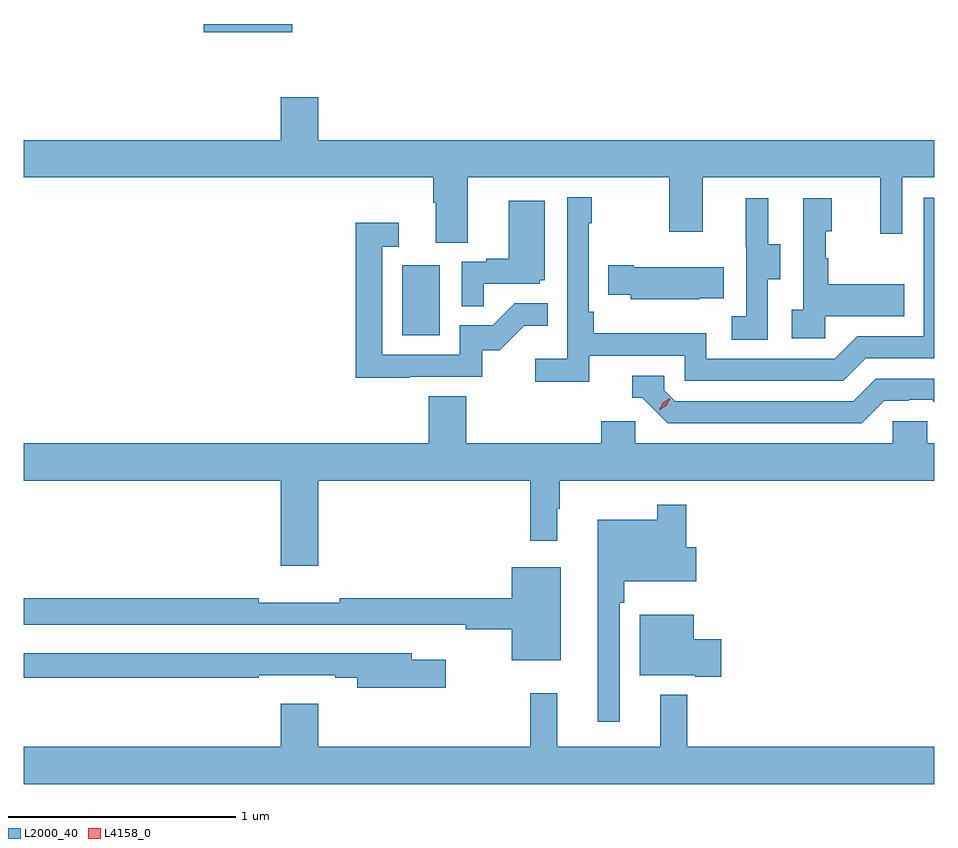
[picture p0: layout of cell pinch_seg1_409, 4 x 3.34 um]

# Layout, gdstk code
import gdstk
lib = gdstk.Library(unit=1e-6, precision=1e-09)
def R(c, l, rs):  # rectangles x0, y0, x1, y1
    for r in rs: c.add(gdstk.rectangle(r[:2], r[2:], *l))
def P(c, l, *ps):  # polygons
    for p in ps: c.add(gdstk.Polygon(p, *l))
L2000_40 = (2000, 40)
L4158_0 = (4158, 0)

pinch_seg1_409 = lib.new_cell('pinch_seg1_409')
R(pinch_seg1_409, L2000_40, [(920.786,539.052,920.95,539.359), (919.914,540.382,920.302,540.418)])
P(pinch_seg1_409, L2000_40, [(921.073,539.744),(921.958,539.744),(921.958,539.505),(922.105,539.505),(922.105,539.744),(922.886,539.744),(922.886,539.496),(922.983,539.496),(922.983,539.744),(923.123,539.744),(923.123,539.908),(920.416,539.908),(920.416,540.097),(920.252,540.097),(920.252,539.908),(919.123,539.908),(919.123,539.744),(920.921,539.744),(920.921,539.632),(920.933,539.632),(920.933,539.458),(921.073,539.458)],
  [(921.608,538.962),(922.026,538.962),(922.026,538.851),(922.723,538.851),(922.822,538.95),(923.123,538.95),(923.123,539.655),(923.076,539.655),(923.076,539.046),(922.785,539.046),(922.686,538.947),(922.122,538.947),(922.122,539.059),(921.626,539.059),(921.626,539.155),(921.606,539.155),(921.606,539.543),(921.619,539.543),(921.619,539.656),(921.51,539.656),(921.51,538.948),(921.369,538.948),(921.369,538.846),(921.608,538.846)],
  [(922.392,539.296),(922.447,539.296),(922.447,539.451),(922.393,539.451),(922.393,539.653),(922.295,539.653),(922.295,539.439),(922.296,539.439),(922.296,539.135),(922.233,539.135),(922.233,539.032),(922.392,539.032)],
  [(922.644,539.135),(922.991,539.135),(922.991,539.275),(922.657,539.275),(922.657,539.39),(922.647,539.39),(922.647,539.508),(922.672,539.508),(922.672,539.653),(922.548,539.653),(922.548,539.162),(922.497,539.162),(922.497,539.037),(922.644,539.037)],
  [(921.143,539.277),(921.39,539.277),(921.39,539.292),(921.412,539.292),(921.412,539.641),(921.254,539.641),(921.254,539.386),(921.155,539.386),(921.155,539.373),(921.048,539.373),(921.048,539.179),(921.143,539.179)],
  [(920.819,538.869),(921.138,538.869),(921.138,538.986),(921.214,538.986),(921.321,539.093),(921.425,539.093),(921.425,539.192),(921.281,539.192),(921.183,539.094),(921.039,539.094),(921.039,538.965),(920.697,538.965),(920.697,539.439),(920.77,539.439),(920.77,539.545),(920.581,539.545),(920.581,538.864),(920.819,538.864)],
  [(922.091,539.213),(922.199,539.213),(922.199,539.35),(921.802,539.35),(921.802,539.358),(921.691,539.358),(921.691,539.228),(921.789,539.228),(921.789,539.21),(922.091,539.21)],
  [(922.903,538.764),(923.01,538.764),(923.01,538.767),(923.113,538.767),(923.123,538.757),(923.123,538.86),(922.866,538.86),(922.767,538.761),(921.984,538.761),(921.936,538.809),(921.936,538.872),(921.797,538.872),(921.797,538.776),(921.84,538.776),(921.951,538.665),(922.804,538.665)],
  [(920.416,538.412),(921.349,538.412),(921.349,538.149),(921.466,538.149),(921.466,538.289),(921.478,538.289),(921.478,538.412),(923.123,538.412),(923.123,538.576),(923.091,538.576),(923.091,538.674),(922.941,538.674),(922.941,538.576),(921.81,538.576),(921.81,538.674),(921.659,538.674),(921.659,538.576),(921.068,538.576),(921.068,538.784),(920.903,538.784),(920.903,538.576),(919.123,538.576),(919.123,538.412),(920.252,538.412),(920.252,538.038),(920.416,538.038)],
  [(921.741,537.875),(921.761,537.875),(921.761,537.971),(922.078,537.971),(922.078,538.119),(922.034,538.119),(922.034,538.306),(921.906,538.306),(921.906,538.24),(921.644,538.24),(921.644,537.354),(921.741,537.354)],
  [(921.481,538.033),(921.266,538.033),(921.266,537.896),(920.512,537.896),(920.512,537.877),(920.156,537.877),(920.156,537.896),(919.123,537.896),(919.123,537.78),(921.064,537.78),(921.064,537.76),(921.266,537.76),(921.266,537.623),(921.481,537.623)],
  [(922.186,537.715),(922.066,537.715),(922.066,537.823),(921.83,537.823),(921.83,537.557),(922.073,537.557),(922.073,537.55),(922.186,537.55)],
  [(920.977,537.625),(920.827,537.625),(920.827,537.654),(919.123,537.654),(919.123,537.546),(920.156,537.546),(920.156,537.558),(920.492,537.558),(920.492,537.546),(920.588,537.546),(920.588,537.503),(920.977,537.503)],
  [(923.123,537.244),(922.037,537.244),(922.037,537.472),(921.92,537.472),(921.92,537.244),(921.467,537.244),(921.467,537.478),(921.349,537.478),(921.349,537.244),(920.416,537.244),(920.416,537.433),(920.252,537.433),(920.252,537.244),(919.123,537.244),(919.123,537.08),(923.123,537.08)])
P(pinch_seg1_409, L4158_0, [(921.914,538.721),(921.914,538.722),(921.93,538.754),(921.961,538.774),(921.962,538.774),(921.962,538.774),(921.945,538.741),(921.914,538.721)])

lib.write_gds('pinch_seg1_409.gds')
